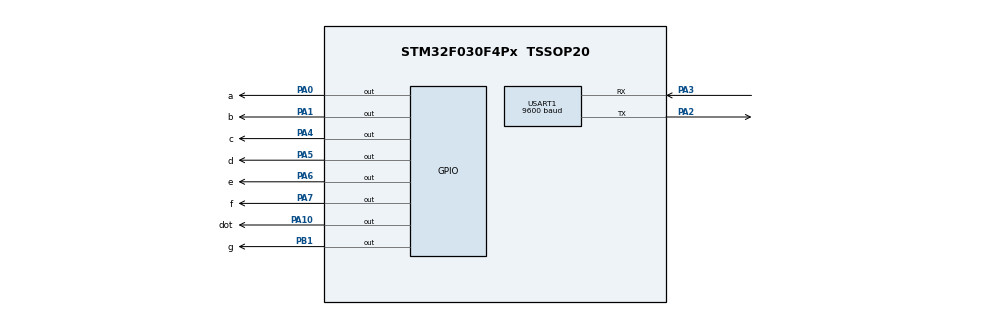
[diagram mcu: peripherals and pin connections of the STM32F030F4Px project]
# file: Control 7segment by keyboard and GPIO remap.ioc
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Mcu.Family=STM32F0
Mcu.Name=STM32F030F4Px
Mcu.Package=TSSOP20
PA0.GPIO_Label=a
PA0.Signal=GPIO_Output
PA1.GPIO_Label=b
PA1.Signal=GPIO_Output
PA10.GPIO_Label=dot
PA10.Signal=GPIO_Output
PA2.Mode=Asynchronous
PA2.Signal=USART1_TX
PA3.Mode=Asynchronous
PA3.Signal=USART1_RX
PA4.GPIO_Label=c
PA4.Signal=GPIO_Output
PA5.GPIO_Label=d
PA5.Signal=GPIO_Output
PA6.GPIO_Label=e
PA6.Signal=GPIO_Output
PA7.GPIO_Label=f
PA7.Signal=GPIO_Output
PB1.GPIO_Label=g
PB1.Signal=GPIO_Output
ProjectManager.HeapSize=0x200
ProjectManager.StackSize=0x400
ProjectManager.TargetToolchain=STM32CubeIDE
USART1.BaudRate=9600
USART1.VirtualMode-Asynchronous=VM_ASYNC
board=custom

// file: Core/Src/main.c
/* USER CODE BEGIN Header */
/**
  ******************************************************************************
  * @file           : main.c
  * @brief          : Main program body
  ******************************************************************************
  * @attention
  *
  * Copyright (c) 2024 STMicroelectronics.
  * All rights reserved.
  *
  * This software is licensed under terms that can be found in the LICENSE file
  * in the root directory of this software component.
  * If no LICENSE file comes with this software, it is provided AS-IS.
  *
  ******************************************************************************
  */
/* USER CODE END Header */
#include "main.h"

/* USER CODE BEGIN Includes */
#include "GPIO_Remap.h"
/* USER CODE END Includes */

UART_HandleTypeDef huart1;

void SystemClock_Config(void);
static void MX_GPIO_Init(void);
static void MX_USART1_UART_Init(void);

/* USER CODE BEGIN 0 */

uint8_t seg_table[] = {
    //pgfedcba
    0b11000000,  // 0
    0b11111001,  // 1
    0b10100100,  // 2
    0b10110000,  // 3
    0b10011001,  // 4
    0b10010010,  // 5
    0b10000010,  // 6
    0b11111000,  // 7
    0b10000000,  // 8
    0b10010000   // 9
};

PORT_Remap_TypeDef PORTrm;
uint8_t UART1_rxBuffer[2] = {0};
uint8_t ch0;

/* USER CODE END 0 */

int main(void)
{

  /* MCU Configuration--------------------------------------------------------*/

  /* Reset of all peripherals, Initializes the Flash interface and the Systick. */
  HAL_Init();

  /* Configure the system clock */
  SystemClock_Config();

  /* Initialize all configured peripherals */
  MX_GPIO_Init();
  MX_USART1_UART_Init();
  /* USER CODE BEGIN 2 */

 // Remaping GPIO PORT AND PIN

  PORTrm.PORT[0] = GPIOA; PORTrm.PIN[0] = a_Pin;
  PORTrm.PORT[1] = GPIOA; PORTrm.PIN[1] = b_Pin;
  PORTrm.PORT[2] = GPIOA; PORTrm.PIN[2] = c_Pin;
  PORTrm.PORT[3] = GPIOA; PORTrm.PIN[3] = d_Pin;
  PORTrm.PORT[4] = GPIOA; PORTrm.PIN[4] = e_Pin;
  PORTrm.PORT[5] = GPIOA; PORTrm.PIN[5] = f_Pin;
  PORTrm.PORT[6] = GPIOB; PORTrm.PIN[6] = g_Pin;
  PORTrm.PORT[7] = GPIOA; PORTrm.PIN[7] = dot_Pin;

  /* USER CODE END 2 */

  /* Infinite loop */
  while (1)
  {

    /* USER CODE BEGIN 3 */
	  HAL_UART_Receive (&huart1, UART1_rxBuffer, 2, 100);

	  switch (UART1_rxBuffer[0]){
	      case '0':
					// statements
	    	          //0
	    	        Write_PORT_Remap(&PORTrm, seg_table[0]);
	                break;

	      case '1':
	      	        // statements
					  //1
	    	        Write_PORT_Remap(&PORTrm, seg_table[1]);
	      	        break;
	      case '2':
	      	        // statements
					  //2
	    	  	    Write_PORT_Remap(&PORTrm, seg_table[2]);
	      	        break;
	      case '3':
	      	        // statements
					  //3
	    	        Write_PORT_Remap(&PORTrm, seg_table[3]);
	      	        break;
	      case '4':
	      	        // statements
					  //4
	    	        Write_PORT_Remap(&PORTrm, seg_table[4]);
	      	        break;
	      case '5':
	      	        // statements
					  //5
	    	  	  	Write_PORT_Remap(&PORTrm, seg_table[5]);
	      	        break;
	      case '6':
	      	        // statements
					  //6
	    	  	  	Write_PORT_Remap(&PORTrm, seg_table[6]);
	      	        break;
	      case '7':
	      	        // statements
					  //7
	    	        Write_PORT_Remap(&PORTrm, seg_table[7]);
	      	        break;
	      case '8':
	      	        // statements
					  //8
	    	        Write_PORT_Remap(&PORTrm, seg_table[8]);
	      	        break;
	      case '9':
	      	      	// statements
					  //9
	    	        Write_PORT_Remap(&PORTrm, seg_table[9]);
	      	        break;

	      default:
	    	       Write_PORT_Remap(&PORTrm, seg_table[0]);
	        // default statements
	  }

  }
  /* USER CODE END 3 */
}

void SystemClock_Config(void)
{
  RCC_OscInitTypeDef RCC_OscInitStruct = {0};
  RCC_ClkInitTypeDef RCC_ClkInitStruct = {0};
  RCC_PeriphCLKInitTypeDef PeriphClkInit = {0};

  /** Initializes the RCC Oscillators according to the specified parameters
  * in the RCC_OscInitTypeDef structure.
  */
  RCC_OscInitStruct.OscillatorType = RCC_OSCILLATORTYPE_HSI;
  RCC_OscInitStruct.HSIState = RCC_HSI_ON;
  RCC_OscInitStruct.HSICalibrationValue = RCC_HSICALIBRATION_DEFAULT;
  RCC_OscInitStruct.PLL.PLLState = RCC_PLL_NONE;
  if (HAL_RCC_OscConfig(&RCC_OscInitStruct) != HAL_OK)
  {
    Error_Handler();
  }

  /** Initializes the CPU, AHB and APB buses clocks
  */
  RCC_ClkInitStruct.ClockType = RCC_CLOCKTYPE_HCLK|RCC_CLOCKTYPE_SYSCLK
                              |RCC_CLOCKTYPE_PCLK1;
  RCC_ClkInitStruct.SYSCLKSource = RCC_SYSCLKSOURCE_HSI;
  RCC_ClkInitStruct.AHBCLKDivider = RCC_SYSCLK_DIV1;
  RCC_ClkInitStruct.APB1CLKDivider = RCC_HCLK_DIV1;

  if (HAL_RCC_ClockConfig(&RCC_ClkInitStruct, FLASH_LATENCY_0) != HAL_OK)
  {
    Error_Handler();
  }
  PeriphClkInit.PeriphClockSelection = RCC_PERIPHCLK_USART1;
  PeriphClkInit.Usart1ClockSelection = RCC_USART1CLKSOURCE_PCLK1;
  if (HAL_RCCEx_PeriphCLKConfig(&PeriphClkInit) != HAL_OK)
  {
    Error_Handler();
  }
}

static void MX_USART1_UART_Init(void)
{

  huart1.Instance = USART1;
  huart1.Init.BaudRate = 9600;
  huart1.Init.WordLength = UART_WORDLENGTH_8B;
  huart1.Init.StopBits = UART_STOPBITS_1;
  huart1.Init.Parity = UART_PARITY_NONE;
  huart1.Init.Mode = UART_MODE_TX_RX;
  huart1.Init.HwFlowCtl = UART_HWCONTROL_NONE;
  huart1.Init.OverSampling = UART_OVERSAMPLING_16;
  huart1.Init.OneBitSampling = UART_ONE_BIT_SAMPLE_DISABLE;
  huart1.AdvancedInit.AdvFeatureInit = UART_ADVFEATURE_NO_INIT;
  if (HAL_UART_Init(&huart1) != HAL_OK)
  {
    Error_Handler();
  }

}

static void MX_GPIO_Init(void)
{
  GPIO_InitTypeDef GPIO_InitStruct = {0};

  /* GPIO Ports Clock Enable */
  __HAL_RCC_GPIOA_CLK_ENABLE();
  __HAL_RCC_GPIOB_CLK_ENABLE();

  /*Configure GPIO pin Output Level */
  HAL_GPIO_WritePin(GPIOA, a_Pin|b_Pin|c_Pin|d_Pin
                          |e_Pin|f_Pin|dot_Pin, GPIO_PIN_RESET);

  /*Configure GPIO pin Output Level */
  HAL_GPIO_WritePin(g_GPIO_Port, g_Pin, GPIO_PIN_RESET);

  /*Configure GPIO pins : a_Pin b_Pin c_Pin d_Pin
                           e_Pin f_Pin dot_Pin */
  GPIO_InitStruct.Pin = a_Pin|b_Pin|c_Pin|d_Pin
                          |e_Pin|f_Pin|dot_Pin;
  GPIO_InitStruct.Mode = GPIO_MODE_OUTPUT_PP;
  GPIO_InitStruct.Pull = GPIO_NOPULL;
  GPIO_InitStruct.Speed = GPIO_SPEED_FREQ_LOW;
  HAL_GPIO_Init(GPIOA, &GPIO_InitStruct);

  /*Configure GPIO pin : g_Pin */
  GPIO_InitStruct.Pin = g_Pin;
  GPIO_InitStruct.Mode = GPIO_MODE_OUTPUT_PP;
  GPIO_InitStruct.Pull = GPIO_NOPULL;
  GPIO_InitStruct.Speed = GPIO_SPEED_FREQ_LOW;
  HAL_GPIO_Init(g_GPIO_Port, &GPIO_InitStruct);

}

void Error_Handler(void)
{
  __disable_irq();
  while (1)
  {
  }
}
